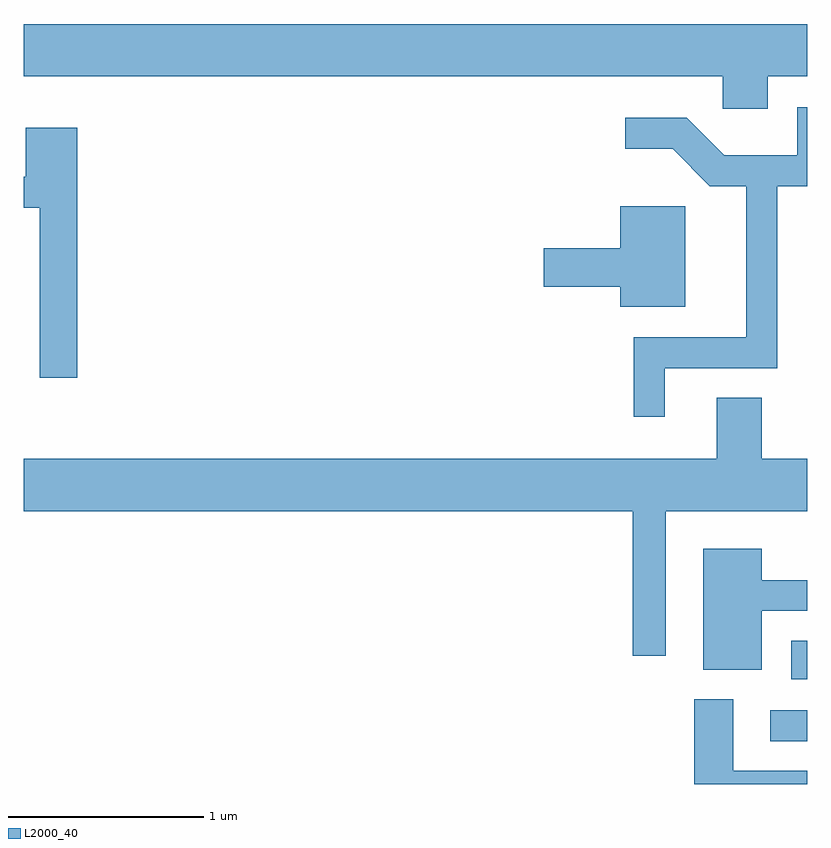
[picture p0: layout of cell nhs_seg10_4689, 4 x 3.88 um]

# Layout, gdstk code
import gdstk
lib = gdstk.Library(unit=1e-6, precision=1e-09)
def R(c, l, rs):  # rectangles x0, y0, x1, y1
    for r in rs: c.add(gdstk.rectangle(r[:2], r[2:], *l))
def P(c, l, *ps):  # polygons
    for p in ps: c.add(gdstk.Polygon(p, *l))
L2000_40 = (2000, 40)

nhs_seg10_4689 = lib.new_cell('nhs_seg10_4689')
R(nhs_seg10_4689, L2000_40, [(327.423,2112.741,327.611,2112.899), (327.531,2113.056,327.611,2113.254)])
P(nhs_seg10_4689, L2000_40, [(327.409,2116.136),(327.611,2116.136),(327.611,2116.404),(323.611,2116.404),(323.611,2116.136),(327.181,2116.136),(327.181,2115.971),(327.409,2115.971)],
  [(326.884,2114.646),(327.459,2114.646),(327.459,2115.576),(327.611,2115.576),(327.611,2115.979),(327.561,2115.979),(327.561,2115.734),(327.187,2115.734),(326.997,2115.924),(326.683,2115.924),(326.683,2115.766),(326.924,2115.766),(327.114,2115.576),(327.301,2115.576),(327.301,2114.804),(326.726,2114.804),(326.726,2114.398),(326.884,2114.398)],
  [(323.884,2115.874),(323.621,2115.874),(323.621,2115.624),(323.611,2115.624),(323.611,2115.466),(323.691,2115.466),(323.691,2114.596),(323.884,2114.596)],
  [(326.989,2115.474),(326.656,2115.474),(326.656,2115.259),(326.266,2115.259),(326.266,2115.061),(326.656,2115.061),(326.656,2114.961),(326.989,2114.961)],
  [(326.889,2113.916),(327.611,2113.916),(327.611,2114.184),(327.379,2114.184),(327.379,2114.494),(327.151,2114.494),(327.151,2114.184),(323.611,2114.184),(323.611,2113.916),(326.721,2113.916),(326.721,2113.178),(326.889,2113.178)],
  [(327.379,2113.406),(327.611,2113.406),(327.611,2113.564),(327.379,2113.564),(327.379,2113.724),(327.081,2113.724),(327.081,2113.106),(327.379,2113.106)],
  [(327.611,2112.589),(327.234,2112.589),(327.234,2112.954),(327.036,2112.954),(327.036,2112.522),(327.611,2112.522)])

lib.write_gds('nhs_seg10_4689.gds')
